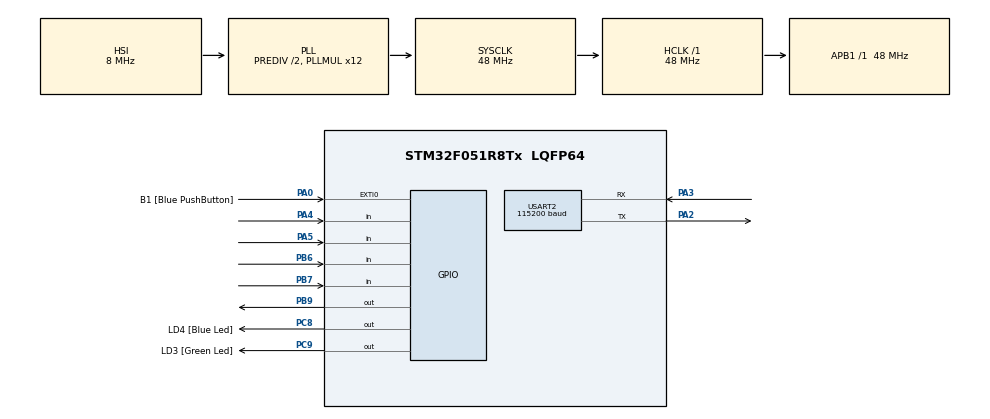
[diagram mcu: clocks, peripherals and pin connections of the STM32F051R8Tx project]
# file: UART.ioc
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Mcu.Family=STM32F0
Mcu.Name=STM32F051R8Tx
Mcu.Package=LQFP64
NVIC.USART2_IRQn=true\:0\:0\:false\:false\:true\:true\:true\:true
PA0.GPIO_Label=B1 [Blue PushButton]
PA0.GPIO_ModeDefaultEXTI=GPIO_MODE_EVT_RISING
PA0.Signal=GPXTI0
PA13.GPIO_Label=SWDIO
PA13.Mode=Serial_Wire
PA13.Signal=SYS_SWDIO
PA14.GPIO_Label=SWCLK
PA14.Mode=Serial_Wire
PA14.Signal=SYS_SWCLK
PA2.Mode=Asynchronous
PA2.Signal=USART2_TX
PA3.Mode=Asynchronous
PA3.Signal=USART2_RX
PA4.Signal=GPIO_Input
PA5.Signal=GPIO_Input
PB6.Signal=GPIO_Input
PB7.Signal=GPIO_Input
PB9.Signal=GPIO_Output
PC14-OSC32_IN.Mode=LSE-External-Clock-Source
PC14-OSC32_IN.Signal=RCC_OSC32_IN
PC8.GPIO_Label=LD4 [Blue Led]
PC8.Signal=GPIO_Output
PC9.GPIO_Label=LD3 [Green Led]
PC9.PinState=GPIO_PIN_SET
PC9.Signal=GPIO_Output
PF0-OSC_IN.Mode=HSE-External-Clock-Source
PF0-OSC_IN.Signal=RCC_OSC_IN
ProjectManager.HeapSize=0x200
ProjectManager.StackSize=0x400
ProjectManager.TargetToolchain=STM32CubeIDE
RCC.AHBFreq_Value=48000000
RCC.APB1Freq_Value=48000000
RCC.APB1TimFreq_Value=48000000
RCC.HCLKFreq_Value=48000000
RCC.PLLDivider=RCC_PREDIV_DIV2
RCC.PLLMUL=RCC_PLL_MUL12
RCC.SYSCLKFreq_VALUE=48000000
RCC.SYSCLKSource=RCC_SYSCLKSOURCE_PLLCLK
USART2.BaudRate=115200
USART2.VirtualMode-Asynchronous=VM_ASYNC
board=STM32F0DISCOVERY

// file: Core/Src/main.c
/* USER CODE BEGIN Header */
/**
  ******************************************************************************
  * @file           : main.c
  * @brief          : Main program body
  ******************************************************************************
  * @attention
  *
  * Copyright (c) 2022 STMicroelectronics.
  * All rights reserved.
  *
  * This software is licensed under terms that can be found in the LICENSE file
  * in the root directory of this software component.
  * If no LICENSE file comes with this software, it is provided AS-IS.
  *
  ******************************************************************************
  */
/* USER CODE END Header */
#include "main.h"

/* USER CODE BEGIN Includes */
#include <string.h>
uint8_t TX_data[]="Проверка передачи UART\r\n\0";
/* USER CODE END Includes */

 UART_HandleTypeDef huart2;

void SystemClock_Config(void);
static void MX_GPIO_Init(void);
static void MX_USART2_UART_Init(void);

/* USER CODE BEGIN 0 */
#include "hx711.h"
hx711_t loadcell;
float weight;
/* USER CODE END 0 */

int main(void)
{

  /* MCU Configuration--------------------------------------------------------*/

  /* Reset of all peripherals, Initializes the Flash interface and the Systick. */
  HAL_Init();

  /* Configure the system clock */
  SystemClock_Config();

  /* Initialize all configured peripherals */
  MX_GPIO_Init();
  MX_USART2_UART_Init();
  /* USER CODE BEGIN 2 */
  float coef;
  coef = 390;
  float val_offset;
  val_offset = 0;
  hx711_init(&loadcell, GPIOB, GPIO_PIN_6, GPIOB, GPIO_PIN_7);
  hx711_coef_set(&loadcell, coef); // read afer calibration
  hx711_tare(&loadcell, 10);
  /* USER CODE END 2 */

  /* Infinite loop */
  /* USER CODE BEGIN WHILE */
  uint8_t str_weight[50];
  uint8_t str[100];
  HAL_Delay(500);
  sprintf(str, "!%d.%03d;%d.%03d\n",(uint32_t)coef,(uint16_t)((coef - (uint32_t)coef)*1000.),(uint32_t)val_offset,(uint16_t)((val_offset - (uint32_t)val_offset)*1000.));
  HAL_UART_Transmit(&huart2, str, strlen((char *)str), 500);
//  uint32_t x= 12345;
//  float y= 1.2345678;
//  uint8_t z= 0x61;
//  char str1[]= "Строка\0";
//  sprintf(str, "Проверка спецификаторов типа\n x=%d\n x=%x\n y=%d.%03d\n z=%c\n str1=%s\n ------------\n", x, x, (uint32_t)y,(uint16_t)((y - (uint32_t)y)*1000.), z, str1);

  while (1)
  {

//	  uint8_t state = HAL_UART_GetState(&huart2);
//	    if( (state != HAL_UART_STATE_BUSY_RX) && (state != HAL_UART_STATE_BUSY_TX_RX) ) {
//
//	      while( HAL_UART_Transmit_IT(&huart2, str, 10) == HAL_BUSY );
////	      sprintf(str, "str:=%s\n",str);
//	      HAL_UART_Receive_IT (&huart2, str, 10);
//	    }
//	  HAL_UART_Transmit(&huart2, TX_data, strlen((char *)TX_data), 0xFFFF);
//	  HAL_Delay(1000);
//	HAL_Delay(500);
//	  HAL_Delay(50);
	weight = hx711_weight(&loadcell, 1);
//	weight = weight - (float)2179;
	weight = weight - val_offset;
	sprintf(str_weight, "weight=%d.%03d\n",(uint32_t)weight,(uint16_t)((weight - (uint32_t)weight)*1000.));
//	  HAL_GPIO_TogglePin(GPIOC, GPIO_PIN_9);
	  HAL_UART_Transmit(&huart2, str_weight, strlen((char *)str_weight), 100);
//	  HAL_Delay(1000);
    /* USER CODE END WHILE */

  }
}

void SystemClock_Config(void)
{
  RCC_OscInitTypeDef RCC_OscInitStruct = {0};
  RCC_ClkInitTypeDef RCC_ClkInitStruct = {0};

  /** Initializes the RCC Oscillators according to the specified parameters
  * in the RCC_OscInitTypeDef structure.
  */
  RCC_OscInitStruct.OscillatorType = RCC_OSCILLATORTYPE_HSI;
  RCC_OscInitStruct.HSIState = RCC_HSI_ON;
  RCC_OscInitStruct.HSICalibrationValue = RCC_HSICALIBRATION_DEFAULT;
  RCC_OscInitStruct.PLL.PLLState = RCC_PLL_ON;
  RCC_OscInitStruct.PLL.PLLSource = RCC_PLLSOURCE_HSI;
  RCC_OscInitStruct.PLL.PLLMUL = RCC_PLL_MUL12;
  RCC_OscInitStruct.PLL.PREDIV = RCC_PREDIV_DIV2;
  if (HAL_RCC_OscConfig(&RCC_OscInitStruct) != HAL_OK)
  {
    Error_Handler();
  }

  /** Initializes the CPU, AHB and APB buses clocks
  */
  RCC_ClkInitStruct.ClockType = RCC_CLOCKTYPE_HCLK|RCC_CLOCKTYPE_SYSCLK
                              |RCC_CLOCKTYPE_PCLK1;
  RCC_ClkInitStruct.SYSCLKSource = RCC_SYSCLKSOURCE_PLLCLK;
  RCC_ClkInitStruct.AHBCLKDivider = RCC_SYSCLK_DIV1;
  RCC_ClkInitStruct.APB1CLKDivider = RCC_HCLK_DIV1;

  if (HAL_RCC_ClockConfig(&RCC_ClkInitStruct, FLASH_LATENCY_1) != HAL_OK)
  {
    Error_Handler();
  }
}

static void MX_USART2_UART_Init(void)
{

  huart2.Instance = USART2;
  huart2.Init.BaudRate = 115200;
  huart2.Init.WordLength = UART_WORDLENGTH_8B;
  huart2.Init.StopBits = UART_STOPBITS_1;
  huart2.Init.Parity = UART_PARITY_NONE;
  huart2.Init.Mode = UART_MODE_TX_RX;
  huart2.Init.HwFlowCtl = UART_HWCONTROL_NONE;
  huart2.Init.OverSampling = UART_OVERSAMPLING_16;
  huart2.Init.OneBitSampling = UART_ONE_BIT_SAMPLE_DISABLE;
  huart2.AdvancedInit.AdvFeatureInit = UART_ADVFEATURE_NO_INIT;
  if (HAL_UART_Init(&huart2) != HAL_OK)
  {
    Error_Handler();
  }

}

static void MX_GPIO_Init(void)
{
  GPIO_InitTypeDef GPIO_InitStruct = {0};

  /* GPIO Ports Clock Enable */
  __HAL_RCC_GPIOC_CLK_ENABLE();
  __HAL_RCC_GPIOF_CLK_ENABLE();
  __HAL_RCC_GPIOA_CLK_ENABLE();
  __HAL_RCC_GPIOB_CLK_ENABLE();

  /*Configure GPIO pin Output Level */
  HAL_GPIO_WritePin(LD4_GPIO_Port, LD4_Pin, GPIO_PIN_RESET);

  /*Configure GPIO pin Output Level */
  HAL_GPIO_WritePin(LD3_GPIO_Port, LD3_Pin, GPIO_PIN_SET);

  /*Configure GPIO pin Output Level */
  HAL_GPIO_WritePin(GPIOB, GPIO_PIN_9, GPIO_PIN_RESET);

  /*Configure GPIO pin : B1_Pin */
  GPIO_InitStruct.Pin = B1_Pin;
  GPIO_InitStruct.Mode = GPIO_MODE_EVT_RISING;
  GPIO_InitStruct.Pull = GPIO_NOPULL;
  HAL_GPIO_Init(B1_GPIO_Port, &GPIO_InitStruct);

  /*Configure GPIO pins : PA4 PA5 */
  GPIO_InitStruct.Pin = GPIO_PIN_4|GPIO_PIN_5;
  GPIO_InitStruct.Mode = GPIO_MODE_INPUT;
  GPIO_InitStruct.Pull = GPIO_NOPULL;
  HAL_GPIO_Init(GPIOA, &GPIO_InitStruct);

  /*Configure GPIO pins : LD4_Pin LD3_Pin */
  GPIO_InitStruct.Pin = LD4_Pin|LD3_Pin;
  GPIO_InitStruct.Mode = GPIO_MODE_OUTPUT_PP;
  GPIO_InitStruct.Pull = GPIO_NOPULL;
  GPIO_InitStruct.Speed = GPIO_SPEED_FREQ_LOW;
  HAL_GPIO_Init(GPIOC, &GPIO_InitStruct);

  /*Configure GPIO pins : PB6 PB7 */
  GPIO_InitStruct.Pin = GPIO_PIN_6|GPIO_PIN_7;
  GPIO_InitStruct.Mode = GPIO_MODE_INPUT;
  GPIO_InitStruct.Pull = GPIO_NOPULL;
  HAL_GPIO_Init(GPIOB, &GPIO_InitStruct);

  /*Configure GPIO pin : PB9 */
  GPIO_InitStruct.Pin = GPIO_PIN_9;
  GPIO_InitStruct.Mode = GPIO_MODE_OUTPUT_PP;
  GPIO_InitStruct.Pull = GPIO_NOPULL;
  GPIO_InitStruct.Speed = GPIO_SPEED_FREQ_LOW;
  HAL_GPIO_Init(GPIOB, &GPIO_InitStruct);

}

void Error_Handler(void)
{
  __disable_irq();
  while (1)
  {
  }
}
